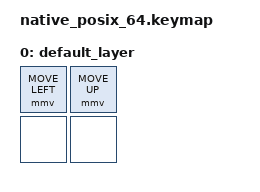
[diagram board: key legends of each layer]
#include <behaviors.dtsi>
#include <dt-bindings/zmk/keys.h>
#include <dt-bindings/zmk/kscan_mock.h>
#include <dt-bindings/zmk/mouse.h>

&mmv_input_listener {
    x-invert;
    y-invert;
};

/ {
    keymap {
        compatible = "zmk,keymap";
        label ="Default keymap";

        default_layer {
            bindings = <
                &mmv MOVE_LEFT &mmv MOVE_UP
                &none &none
            >;
        };
    };
};


&kscan {
    events = <
        ZMK_MOCK_PRESS(0,0,10)
        ZMK_MOCK_PRESS(0,1,100)
        ZMK_MOCK_RELEASE(0,0,10)
        ZMK_MOCK_RELEASE(0,1,10)
    >;
};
